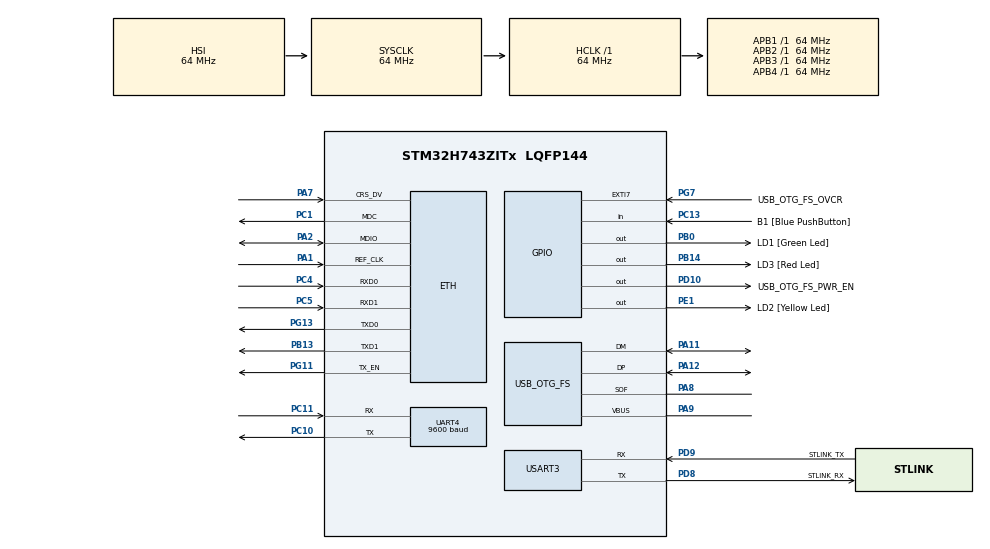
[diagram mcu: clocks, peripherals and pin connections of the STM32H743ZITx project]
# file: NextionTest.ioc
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ETH.MediaInterface=HAL_ETH_RMII_MODE
Mcu.Family=STM32H7
Mcu.Name=STM32H743ZITx
Mcu.Package=LQFP144
NVIC.PriorityGroup=NVIC_PRIORITYGROUP_4
NVIC.UART4_IRQn=true\:0\:0\:false\:false\:true\:true\:true\:true
PA1.Mode=RMII
PA1.Signal=ETH_REF_CLK
PA11.Mode=Device_Only
PA11.Signal=USB_OTG_FS_DM
PA12.Mode=Device_Only
PA12.Signal=USB_OTG_FS_DP
PA13\ (JTMS/SWDIO).Mode=Serial_Wire
PA13\ (JTMS/SWDIO).Signal=DEBUG_JTMS-SWDIO
PA14\ (JTCK/SWCLK).Mode=Serial_Wire
PA14\ (JTCK/SWCLK).Signal=DEBUG_JTCK-SWCLK
PA2.Mode=RMII
PA2.Signal=ETH_MDIO
PA7.Mode=RMII
PA7.Signal=ETH_CRS_DV
PA8.Mode=Activate_SOF_FS
PA8.Signal=USB_OTG_FS_SOF
PA9.Mode=Activate_VBUS
PA9.Signal=USB_OTG_FS_VBUS
PB0.GPIO_Label=LD1 [Green Led]
PB0.Signal=GPIO_Output
PB13.Mode=RMII
PB13.Signal=ETH_TXD1
PB14.GPIO_Label=LD3 [Red Led]
PB14.Signal=GPIO_Output
PC1.Mode=RMII
PC1.Signal=ETH_MDC
PC10.Mode=Asynchronous
PC10.Signal=UART4_TX
PC11.Mode=Asynchronous
PC11.Signal=UART4_RX
PC13.GPIO_Label=B1 [Blue PushButton]
PC13.Signal=GPIO_Input
PC14-OSC32_IN\ (OSC32_IN).Mode=LSE-External-Oscillator
PC14-OSC32_IN\ (OSC32_IN).Signal=RCC_OSC32_IN
PC15-OSC32_OUT\ (OSC32_OUT).Mode=LSE-External-Oscillator
PC15-OSC32_OUT\ (OSC32_OUT).Signal=RCC_OSC32_OUT
PC4.Mode=RMII
PC4.Signal=ETH_RXD0
PC5.Mode=RMII
PC5.Signal=ETH_RXD1
PD10.GPIO_Label=USB_OTG_FS_PWR_EN
PD10.Signal=GPIO_Output
PD8.GPIO_Label=STLINK_RX
PD8.Mode=Asynchronous
PD8.Signal=USART3_TX
PD9.GPIO_Label=STLINK_TX
PD9.Mode=Asynchronous
PD9.Signal=USART3_RX
PE1.GPIO_Label=LD2 [Yellow Led]
PE1.Signal=GPIO_Output
PG11.Mode=RMII
PG11.Signal=ETH_TX_EN
PG13.Mode=RMII
PG13.Signal=ETH_TXD0
PG7.GPIO_Label=USB_OTG_FS_OVCR
PG7.Signal=GPXTI7
PH0-OSC_IN\ (PH0).Mode=HSE-External-Clock-Source
PH0-OSC_IN\ (PH0).Signal=RCC_OSC_IN
PH1-OSC_OUT\ (PH1).Signal=RCC_OSC_OUT
ProjectManager.HeapSize=0x200
ProjectManager.StackSize=0x400
ProjectManager.TargetToolchain=STM32CubeIDE
RCC.ADCFreq_Value=16125000
RCC.APB1Freq_Value=64000000
RCC.APB2Freq_Value=64000000
RCC.APB3Freq_Value=64000000
RCC.APB4Freq_Value=64000000
RCC.CortexFreq_Value=64000000
RCC.DIVM1=1
RCC.DIVN1=24
RCC.DIVQ1=4
RCC.HCLKFreq_Value=64000000
RCC.HSE_VALUE=8000000
RCC.PLL2FRACN=0
RCC.PLL3FRACN=0
RCC.PLLFRACN=0
RCC.PWR_Regulator_Voltage_Scale=PWR_REGULATOR_VOLTAGE_SCALE2
RCC.SYSCLKFreq_VALUE=64000000
RCC.USBFreq_Value=48000000
UART4.BaudRate=9600
USART3.VirtualMode-Asynchronous=VM_ASYNC
USB_OTG_FS.VirtualMode=Device_Only
board=NUCLEO-H743ZI2

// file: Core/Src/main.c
/* USER CODE BEGIN Header */
/**
  ******************************************************************************
  * @file           : main.c
  * @brief          : Main program body
  ******************************************************************************
  * @attention
  *
  * Copyright (c) 2025 STMicroelectronics.
  * All rights reserved.
  *
  * This software is licensed under terms that can be found in the LICENSE file
  * in the root directory of this software component.
  * If no LICENSE file comes with this software, it is provided AS-IS.
  *
  ******************************************************************************
  */
/* USER CODE END Header */
#include "main.h"
#include "eth.h"
#include "usart.h"
#include "usb_otg.h"
#include "gpio.h"

/* USER CODE BEGIN Includes */
#include "Nextion.h"
/* USER CODE END Includes */

void SystemClock_Config(void);

/* USER CODE BEGIN 0 */
struct NexObject button1, button2, slider ,TextBox;

struct NexObject *nex_listen_list[] = {
    &button1,
    &button2,
    &slider,
    &TextBox};

long slidervalue;
char TextBoxvalue[50];
const char TextBoxvalueInit[]="Hello World";
const char TextBoxvalueB1On[]="Button 1 is ON";
const char TextBoxvalueB1Off[]="Button 1 is OFF";
const char TextBoxvalueB2On[]="Button 2 is ON";
const char TextBoxvalueB2Off[]="Button 2 is OFF";

#define button1PageID 0
#define button2PageID 0
#define sliderPageID 0
#define TextBoxPageID 0
#define button1ID 2
#define button2ID 3
#define sliderID 5
#define TextBoxID 4

void button1Callback(void *ptr);
void button2Callback(void *ptr);
void sliderCallback(void *ptr);
void TextBoxCallback(void *ptr);
/* USER CODE END 0 */

int main(void)
{

  /* MCU Configuration--------------------------------------------------------*/

  /* Reset of all peripherals, Initializes the Flash interface and the Systick. */
  HAL_Init();

  /* Configure the system clock */
  SystemClock_Config();

  /* Initialize all configured peripherals */
  MX_GPIO_Init();
  MX_ETH_Init();
  MX_UART4_Init();
  MX_USART3_UART_Init();
  MX_USB_OTG_FS_PCD_Init();
  /* USER CODE BEGIN 2 */
  CreateNexObject(button1, button1PageID, button1ID, "b1");
  CreateNexObject(button2, button2PageID, button2ID, "b2");
  CreateNexObject(slider, sliderPageID, sliderID, "h1");
  CreateNexObject(TextBox, TextBoxPageID, TextBoxID, "t0");
  nexInit();
  NexTouch_attachPop(&button1, button1Callback, 0);
  NexTouch_attachPop(&button2, button2Callback, 0);
  NexTouch_attachPop(&slider, sliderCallback, 0);
  NexTouch_attachPop(&TextBox, TextBoxCallback, 0);

  HAL_Delay(1000);
  NexSlider_getValue(&slider, &slidervalue);
  HAL_Delay(1000);
  NexSlider_setValue(&slider, slidervalue + 20);
  HAL_Delay(1000);

  NexText_getText(&TextBox, TextBoxvalue , 50);
  HAL_Delay(1000);
  NexText_setText(&TextBox, TextBoxvalueInit);
  /* USER CODE END 2 */

  /* Infinite loop */
  while (1)
  {

    /* USER CODE BEGIN 3 */

	  HAL_GPIO_WritePin(LD2_GPIO_Port, LD2_Pin, GPIO_PIN_SET);
    nexLoop(nex_listen_list);
    nexDelay(50);
	  HAL_GPIO_WritePin(LD2_GPIO_Port, LD2_Pin, GPIO_PIN_RESET);
	  HAL_Delay(50);
  }
  /* USER CODE END 3 */
}

void SystemClock_Config(void)
{
  RCC_OscInitTypeDef RCC_OscInitStruct = {0};
  RCC_ClkInitTypeDef RCC_ClkInitStruct = {0};

  /** Supply configuration update enable
  */
  HAL_PWREx_ConfigSupply(PWR_LDO_SUPPLY);

  /** Configure the main internal regulator output voltage
  */
  __HAL_PWR_VOLTAGESCALING_CONFIG(PWR_REGULATOR_VOLTAGE_SCALE2);

  while(!__HAL_PWR_GET_FLAG(PWR_FLAG_VOSRDY)) {}

  /** Initializes the RCC Oscillators according to the specified parameters
  * in the RCC_OscInitTypeDef structure.
  */
  RCC_OscInitStruct.OscillatorType = RCC_OSCILLATORTYPE_HSI|RCC_OSCILLATORTYPE_HSE;
  RCC_OscInitStruct.HSEState = RCC_HSE_BYPASS;
  RCC_OscInitStruct.HSIState = RCC_HSI_DIV1;
  RCC_OscInitStruct.HSICalibrationValue = RCC_HSICALIBRATION_DEFAULT;
  RCC_OscInitStruct.PLL.PLLState = RCC_PLL_ON;
  RCC_OscInitStruct.PLL.PLLSource = RCC_PLLSOURCE_HSE;
  RCC_OscInitStruct.PLL.PLLM = 1;
  RCC_OscInitStruct.PLL.PLLN = 24;
  RCC_OscInitStruct.PLL.PLLP = 2;
  RCC_OscInitStruct.PLL.PLLQ = 4;
  RCC_OscInitStruct.PLL.PLLR = 2;
  RCC_OscInitStruct.PLL.PLLRGE = RCC_PLL1VCIRANGE_3;
  RCC_OscInitStruct.PLL.PLLVCOSEL = RCC_PLL1VCOWIDE;
  RCC_OscInitStruct.PLL.PLLFRACN = 0;
  if (HAL_RCC_OscConfig(&RCC_OscInitStruct) != HAL_OK)
  {
    Error_Handler();
  }

  /** Initializes the CPU, AHB and APB buses clocks
  */
  RCC_ClkInitStruct.ClockType = RCC_CLOCKTYPE_HCLK|RCC_CLOCKTYPE_SYSCLK
                              |RCC_CLOCKTYPE_PCLK1|RCC_CLOCKTYPE_PCLK2
                              |RCC_CLOCKTYPE_D3PCLK1|RCC_CLOCKTYPE_D1PCLK1;
  RCC_ClkInitStruct.SYSCLKSource = RCC_SYSCLKSOURCE_HSI;
  RCC_ClkInitStruct.SYSCLKDivider = RCC_SYSCLK_DIV1;
  RCC_ClkInitStruct.AHBCLKDivider = RCC_HCLK_DIV1;
  RCC_ClkInitStruct.APB3CLKDivider = RCC_APB3_DIV1;
  RCC_ClkInitStruct.APB1CLKDivider = RCC_APB1_DIV1;
  RCC_ClkInitStruct.APB2CLKDivider = RCC_APB2_DIV1;
  RCC_ClkInitStruct.APB4CLKDivider = RCC_APB4_DIV1;

  if (HAL_RCC_ClockConfig(&RCC_ClkInitStruct, FLASH_LATENCY_1) != HAL_OK)
  {
    Error_Handler();
  }
}

/* USER CODE BEGIN 4 */
void button1Callback(void *ptr)
{
    //TODO
    HAL_GPIO_TogglePin(LD1_GPIO_Port, LD1_Pin);
}

void button2Callback(void *ptr)
{
    //TODO
    HAL_GPIO_TogglePin(LD1_GPIO_Port, LD1_Pin);
}

void sliderCallback(void *ptr)
{
    //TODO
    HAL_GPIO_TogglePin(LD3_GPIO_Port, LD3_Pin);
}

void TextBoxCallback(void *ptr)
{
    //TODO
    HAL_GPIO_TogglePin(LD3_GPIO_Port, LD3_Pin);
}
/* USER CODE END 4 */

void Error_Handler(void)
{
  __disable_irq();
  while (1)
  {
  }
}
